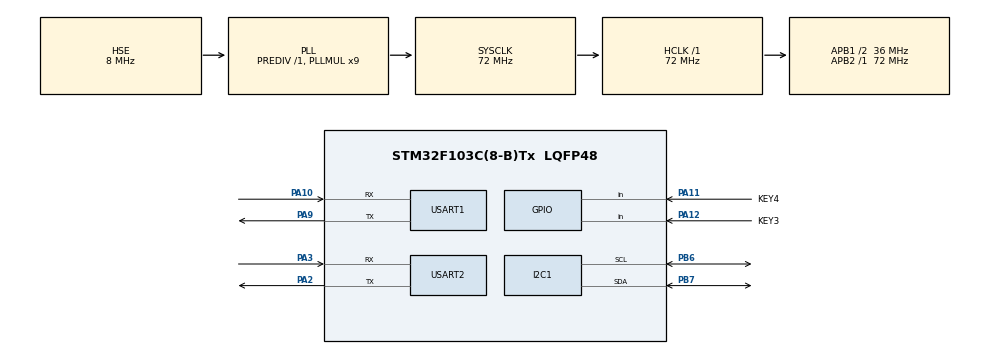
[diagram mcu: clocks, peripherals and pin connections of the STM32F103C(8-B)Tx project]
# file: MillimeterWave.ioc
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Dma.Request0=USART2_RX
Dma.USART2_RX.0.Direction=DMA_PERIPH_TO_MEMORY
Dma.USART2_RX.0.Instance=DMA1_Channel6
Dma.USART2_RX.0.MemDataAlignment=DMA_MDATAALIGN_BYTE
Dma.USART2_RX.0.MemInc=DMA_MINC_ENABLE
Dma.USART2_RX.0.Mode=DMA_CIRCULAR
Dma.USART2_RX.0.PeriphDataAlignment=DMA_PDATAALIGN_BYTE
Dma.USART2_RX.0.PeriphInc=DMA_PINC_DISABLE
Dma.USART2_RX.0.Priority=DMA_PRIORITY_LOW
Mcu.Family=STM32F1
Mcu.Name=STM32F103C(8-B)Tx
Mcu.Package=LQFP48
NVIC.DMA1_Channel6_IRQn=true\:0\:0\:false\:false\:true\:false\:true
NVIC.PriorityGroup=NVIC_PRIORITYGROUP_4
NVIC.TIM1_UP_IRQn=true\:0\:0\:false\:false\:true\:true\:true
NVIC.USART2_IRQn=true\:0\:0\:false\:false\:true\:true\:true
PA10.Mode=Asynchronous
PA10.Signal=USART1_RX
PA11.GPIO_Label=KEY4
PA11.Signal=GPIO_Input
PA12.GPIO_Label=KEY3
PA12.Signal=GPIO_Input
PA13.Mode=Serial_Wire
PA13.Signal=SYS_JTMS-SWDIO
PA14.Mode=Serial_Wire
PA14.Signal=SYS_JTCK-SWCLK
PA2.Mode=Asynchronous
PA2.Signal=USART2_TX
PA3.Mode=Asynchronous
PA3.Signal=USART2_RX
PA9.Mode=Asynchronous
PA9.Signal=USART1_TX
PB6.Mode=I2C
PB6.Signal=I2C1_SCL
PB7.Mode=I2C
PB7.Signal=I2C1_SDA
PC14-OSC32_IN.Mode=LSE-External-Oscillator
PC14-OSC32_IN.Signal=RCC_OSC32_IN
PC15-OSC32_OUT.Mode=LSE-External-Oscillator
PC15-OSC32_OUT.Signal=RCC_OSC32_OUT
PD0-OSC_IN.Mode=HSE-External-Oscillator
PD0-OSC_IN.Signal=RCC_OSC_IN
PD1-OSC_OUT.Mode=HSE-External-Oscillator
PD1-OSC_OUT.Signal=RCC_OSC_OUT
ProjectManager.HeapSize=0x200
ProjectManager.StackSize=0x800
ProjectManager.TargetToolchain=MDK-ARM V5.32
RCC.AHBFreq_Value=72000000
RCC.APB1CLKDivider=RCC_HCLK_DIV2
RCC.APB1Freq_Value=36000000
RCC.APB1TimFreq_Value=72000000
RCC.APB2Freq_Value=72000000
RCC.APB2TimFreq_Value=72000000
RCC.HCLKFreq_Value=72000000
RCC.PLLMUL=RCC_PLL_MUL9
RCC.PLLSourceVirtual=RCC_PLLSOURCE_HSE
RCC.SYSCLKFreq_VALUE=72000000
RCC.SYSCLKSource=RCC_SYSCLKSOURCE_PLLCLK
RCC.USBFreq_Value=72000000
TIM1.Period=10000-1
TIM1.Prescaler=7200-1
USART1.VirtualMode=VM_ASYNC
USART2.VirtualMode=VM_ASYNC
VP_TIM1_VS_ClockSourceINT.Mode=Internal
board=custom

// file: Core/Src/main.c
/* USER CODE BEGIN Header */
/**
 ******************************************************************************
 * @file           : main.c
 * @brief          : Main program body
 ******************************************************************************
 * @attention
 *
 * Copyright (c) 2022 STMicroelectronics.
 * All rights reserved.
 *
 * This software is licensed under terms that can be found in the LICENSE file
 * in the root directory of this software component.
 * If no LICENSE file comes with this software, it is provided AS-IS.
 *
 ******************************************************************************
 */
/* USER CODE END Header */
#include "main.h"
#include "dma.h"
#include "i2c.h"
#include "tim.h"
#include "usart.h"
#include "gpio.h"

/* USER CODE BEGIN Includes */

#include "dr_display.h"
#include "debug.h"
#include "IndefLenUsart.h"
#include "datahandle.h"
#include "dr_button.h"
/* USER CODE END Includes */

void SystemClock_Config(void);

int main(void)
{

  /* MCU Configuration--------------------------------------------------------*/

  /* Reset of all peripherals, Initializes the Flash interface and the Systick. */
  HAL_Init();

  /* Configure the system clock */
  SystemClock_Config();

  /* Initialize all configured peripherals */
  MX_GPIO_Init();
  MX_I2C1_Init();
  MX_USART1_UART_Init();
  MX_DMA_Init();
  MX_USART2_UART_Init();
  MX_TIM1_Init();
  /* USER CODE BEGIN 2 */
  DisplayInit();
  USAR_IndefLenUsart_Init();
  Key_Init();
  Oled_Disp_String(26, 26, "Hello");
  DisplayRefresh();
  /* USER CODE END 2 */

  /* Infinite loop */
  /* USER CODE BEGIN WHILE */
  while (1)
  {
    snprintf(LCD_CACHE, 50, "Move:%d", body_exist_detect.body_move_param);
    Oled_Disp_String(0, 0, LCD_CACHE);
    snprintf(LCD_CACHE, 50, "Breath:%d", breath_detect.breath_detect_value);
    Oled_Disp_String(0, 20, LCD_CACHE);
    snprintf(LCD_CACHE, 50, "HR:%d", heart_detect.heart_detect_value);
    Oled_Disp_String(0, 40, LCD_CACHE);
    DisplayRefresh();

    HAL_Delay(200);

    /* USER CODE END WHILE */

  }
}

void SystemClock_Config(void)
{
  RCC_OscInitTypeDef RCC_OscInitStruct = {0};
  RCC_ClkInitTypeDef RCC_ClkInitStruct = {0};

  /** Initializes the RCC Oscillators according to the specified parameters
   * in the RCC_OscInitTypeDef structure.
   */
  RCC_OscInitStruct.OscillatorType = RCC_OSCILLATORTYPE_HSE;
  RCC_OscInitStruct.HSEState = RCC_HSE_ON;
  RCC_OscInitStruct.HSEPredivValue = RCC_HSE_PREDIV_DIV1;
  RCC_OscInitStruct.HSIState = RCC_HSI_ON;
  RCC_OscInitStruct.PLL.PLLState = RCC_PLL_ON;
  RCC_OscInitStruct.PLL.PLLSource = RCC_PLLSOURCE_HSE;
  RCC_OscInitStruct.PLL.PLLMUL = RCC_PLL_MUL9;
  if (HAL_RCC_OscConfig(&RCC_OscInitStruct) != HAL_OK)
  {
    Error_Handler();
  }
  /** Initializes the CPU, AHB and APB buses clocks
   */
  RCC_ClkInitStruct.ClockType = RCC_CLOCKTYPE_HCLK | RCC_CLOCKTYPE_SYSCLK | RCC_CLOCKTYPE_PCLK1 | RCC_CLOCKTYPE_PCLK2;
  RCC_ClkInitStruct.SYSCLKSource = RCC_SYSCLKSOURCE_PLLCLK;
  RCC_ClkInitStruct.AHBCLKDivider = RCC_SYSCLK_DIV1;
  RCC_ClkInitStruct.APB1CLKDivider = RCC_HCLK_DIV2;
  RCC_ClkInitStruct.APB2CLKDivider = RCC_HCLK_DIV1;

  if (HAL_RCC_ClockConfig(&RCC_ClkInitStruct, FLASH_LATENCY_2) != HAL_OK)
  {
    Error_Handler();
  }
}

void Error_Handler(void)
{
  __disable_irq();
  while (1)
  {
  }
}
